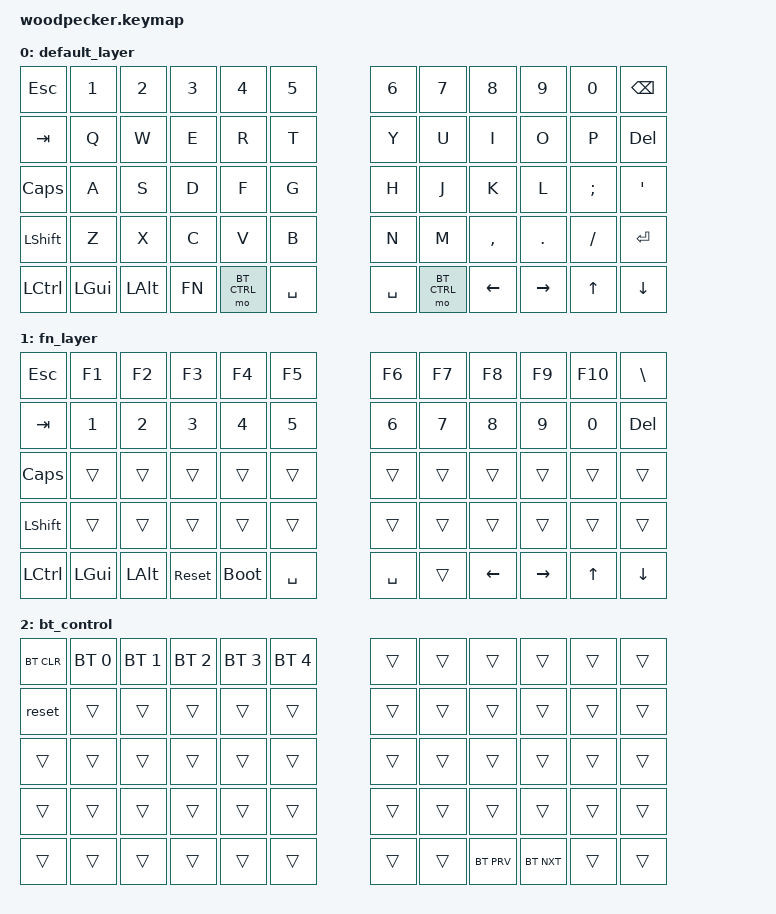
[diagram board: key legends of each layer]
/*
 * Copyright (c) 2023 The ZMK Contributors
 *
 * SPDX-License-Identifier: MIT
 */

#include <behaviors.dtsi>
#include <dt-bindings/zmk/keys.h>
#include <dt-bindings/zmk/bt.h>

#define DEFAULT  0
#define FN 1
#define BT_CTRL  2

/ {
    keymap {
        compatible = "zmk,keymap";

       /* Qwerty
        * ,-----------------------------------------. ,-----------------------------------------.
        * | Esc  |  1   |  2   |  3   |  4   |  5   | |  6   |  7   |  8   |  9   |  0   | BkSp |
        * |------+------+------+------+------+------| |------+------+------+------+------+------|
        * | Tab  |  Q   |  W   |  E   |  R   |  T   | |  Y   |  U   |  I   |  O   |  P   | Del  |
        * |------+------+------+------+------+------| |------+------+------+------+------+------|
        * | Caps |  A   |  S   |  D   |  F   |  G   | |  H   |  J   |  K   |  L   |  ;   |  '   |
        * |------+------+------+------+------+------| |------+------+------+------+------+------|
        * | Shft |  Z   |  X   |  C   |  V   |  B   | |  N   |  M   |  ,   |  .   |  /   | Entr |
        * |------+------+------+------+------+------| |------+------+------+------+------+------|
        * | Ctrl | LGUI | LAlt | BSLH | FN   | Spac | | Spac |BTctrl| Left | Rght |  Up  | Down |
        * `-----------------------------------------' `-----------------------------------------'
        */

        default_layer {
            bindings = <
            &kp ESC   &kp N1    &kp N2   &kp N3    &kp N4      &kp N5               &kp N6    &kp N7      &kp N8     &kp N9    &kp N0   &kp BSPC
            &kp TAB   &kp Q     &kp W    &kp E     &kp R       &kp T                &kp Y     &kp U       &kp I      &kp O     &kp P    &kp DEL
            &kp CAPS  &kp A     &kp S    &kp D     &kp F       &kp G                &kp H     &kp J       &kp K      &kp L     &kp SEMI &kp SQT
            &kp LSHFT &kp Z     &kp X    &kp C     &kp V       &kp B                &kp N     &kp M       &kp COMMA  &kp DOT   &kp FSLH &kp ENTER
            &kp LCTRL &kp LGUI  &kp LALT &kp FN    &mo BT_CTRL &kp SPACE            &kp SPACE &mo BT_CTRL &kp LEFT   &kp RIGHT &kp UP   &kp DOWN
            >;
        };

        fn_layer {
            bindings = <
            &kp ESC   &kp F1    &kp F2   &kp F3       &kp F4      &kp F5           &kp F6    &kp F7      &kp F8    &kp F9    &kp F10  &kp BSLH
            &kp TAB   &kp N1    &kp N2   &kp N3       &kp N4      &kp N5           &kp N6    &kp N7      &kp N8    &kp N9    &kp N0   &kp DEL
            &kp CAPS  &trans    &trans   &trans       &trans      &trans           &trans    &trans      &trans    &trans    &trans   &trans
            &kp LSHFT &trans    &trans   &trans       &trans      &trans           &trans    &trans      &trans    &trans    &trans   &trans
            &kp LCTRL &kp LGUI  &kp LALT &sys_reset   &bootloader &kp SPACE        &kp SPACE &trans      &kp LEFT  &kp RIGHT &kp UP   &kp DOWN
            >;
        };

        bt_control {
            bindings = <
            &bt BT_CLR &bt BT_SEL 0 &bt BT_SEL 1 &bt BT_SEL 2 &bt BT_SEL 3 &bt BT_SEL 4       &trans    &trans    &trans     &trans     &trans   &trans
            &reset     &trans       &trans       &trans       &trans       &trans             &trans    &trans    &trans     &trans     &trans   &trans
            &trans     &trans       &trans       &trans       &trans       &trans             &trans    &trans    &trans     &trans     &trans   &trans
            &trans     &trans       &trans       &trans       &trans       &trans             &trans    &trans    &trans     &trans     &trans   &trans
            &trans     &trans       &trans       &trans       &trans       &trans             &trans    &trans    &bt BT_PRV &bt BT_NXT &trans   &trans
            >;
        };
    };
};

